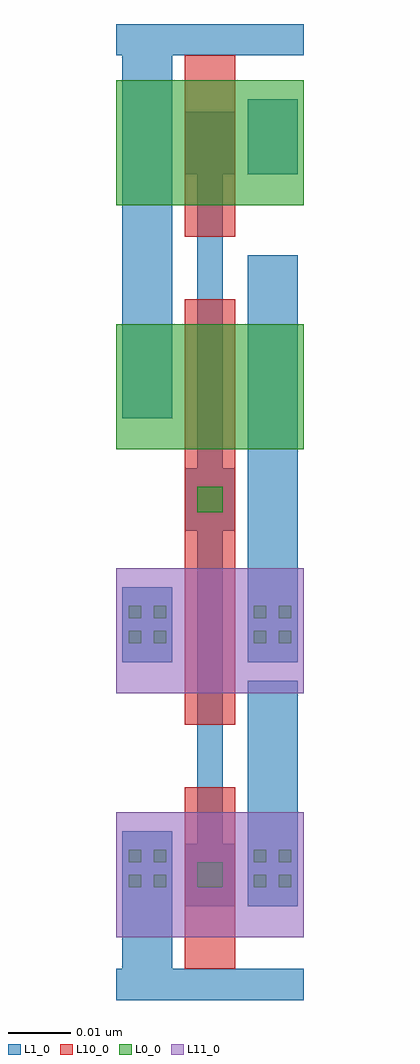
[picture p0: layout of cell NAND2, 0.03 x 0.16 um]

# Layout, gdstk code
import gdstk
lib = gdstk.Library(unit=1e-6, precision=1e-09)
def R(c, l, rs):  # rectangles x0, y0, x1, y1
    for r in rs: c.add(gdstk.rectangle(r[:2], r[2:], *l))
L0_0 = (0, 0)
L1_0 = (1, 0)
L10_0 = (10, 0)
L11_0 = (11, 0)

contact_array = lib.new_cell('contact_array')
R(contact_array, L0_0, [(0,0,0.002,0.002), (0.004,0,0.006,0.002), (0,0.004,0.002,0.006), (0.004,0.004,0.006,0.006)])

nmos = lib.new_cell('NMOS')
R(nmos, L1_0, [(0.001,0.01,0.009,0.022), (0.021,0.01,0.029,0.022)])
R(nmos, L10_0, [(0.011,0.003,0.019,0.029)])
R(nmos, L11_0, [(0,0.005,0.03,0.025)])
nmos.add(gdstk.Reference(contact_array, (0.002,0.013)))
nmos.add(gdstk.Reference(contact_array, (0.022,0.013)))

pmos = lib.new_cell('PMOS')
R(pmos, L0_0, [(0,0.005,0.03,0.025)])
R(pmos, L1_0, [(0.001,0.01,0.009,0.022), (0.021,0.01,0.029,0.022)])
R(pmos, L10_0, [(0.011,0.003,0.019,0.029)])
pmos.add(gdstk.Reference(contact_array, (0.002,0.013)))
pmos.add(gdstk.Reference(contact_array, (0.022,0.013)))

nand2 = lib.new_cell('NAND2')
R(nand2, L0_0, [(0.013,0.018,0.017,0.022), (0.013,0.078,0.017,0.082), (0.013,0.135,0.017,0.139)])
R(nand2, L1_0, [(0,0,0.03,0.005), (0.001,0,0.009,0.018), (0.011,0.015,0.019,0.025), (0.013,0.015,0.017,0.142), (0.021,0.027,0.029,0.051), (0.021,0.066,0.029,0.119), (0.011,0.075,0.019,0.085), (0.001,0.093,0.009,0.156), (0.001,0.132,0.009,0.156), (0.011,0.132,0.019,0.142), (0,0.151,0.03,0.156)])
R(nand2, L10_0, [(0.011,0.005,0.019,0.034), (0.011,0.044,0.019,0.112), (0.011,0.122,0.019,0.151)])
nand2.add(gdstk.Reference(nmos, (0,0.005)))
nand2.add(gdstk.Reference(nmos, (0,0.044)))
nand2.add(gdstk.Reference(pmos, (0,0.083)))
nand2.add(gdstk.Reference(pmos, (0,0.122)))

lib.write_gds('NAND2.gds')
